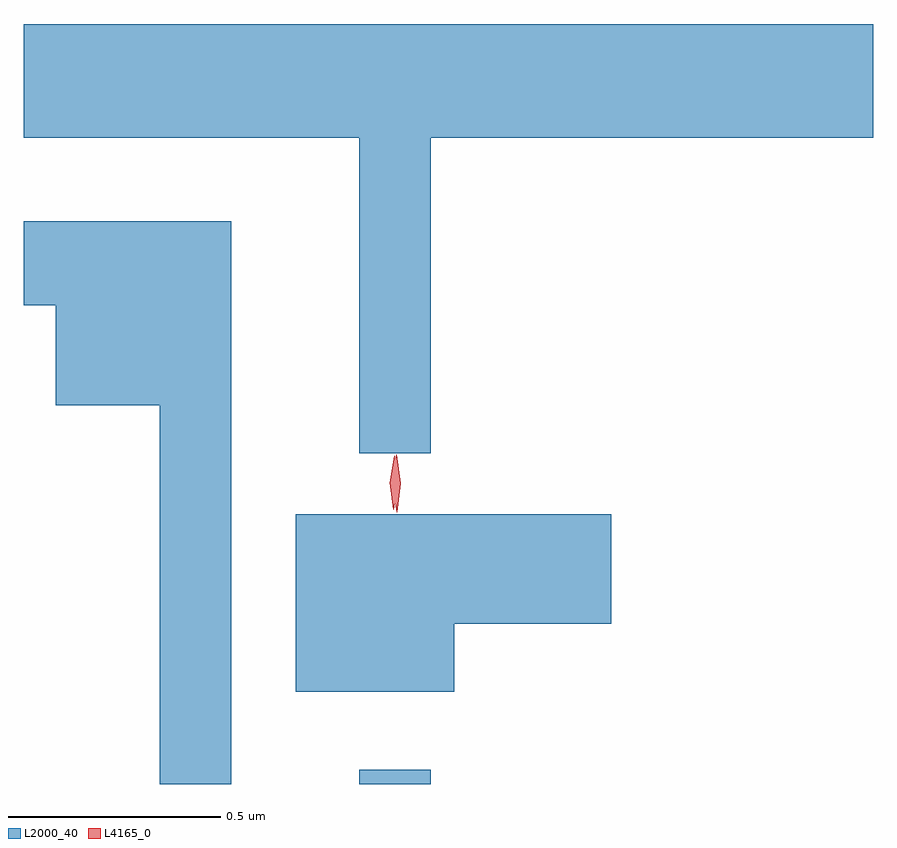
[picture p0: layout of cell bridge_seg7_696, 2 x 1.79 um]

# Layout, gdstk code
import gdstk
lib = gdstk.Library(unit=1e-6, precision=1e-09)
def R(c, l, rs):  # rectangles x0, y0, x1, y1
    for r in rs: c.add(gdstk.rectangle(r[:2], r[2:], *l))
def P(c, l, *ps):  # polygons
    for p in ps: c.add(gdstk.Polygon(p, *l))
L2000_40 = (2000, 40)
L4165_0 = (4165, 0)

bridge_seg7_696 = lib.new_cell('bridge_seg7_696')
R(bridge_seg7_696, L2000_40, [(997.081,1703.914,997.249,1703.948)])
P(bridge_seg7_696, L2000_40, [(997.249,1705.436),(998.291,1705.436),(998.291,1705.704),(996.291,1705.704),(996.291,1705.436),(997.081,1705.436),(997.081,1704.693),(997.249,1704.693)],
  [(996.779,1705.239),(996.291,1705.239),(996.291,1705.041),(996.366,1705.041),(996.366,1704.806),(996.611,1704.806),(996.611,1703.914),(996.779,1703.914)],
  [(997.304,1704.291),(997.674,1704.291),(997.674,1704.549),(996.931,1704.549),(996.931,1704.131),(997.304,1704.131)])
P(bridge_seg7_696, L4165_0, [(997.169,1704.554),(997.159,1704.622),(997.168,1704.69),(997.169,1704.69),(997.169,1704.69),(997.179,1704.622),(997.17,1704.554),(997.17,1704.554)],
  [(997.162,1704.56),(997.161,1704.561),(997.153,1704.624),(997.163,1704.686),(997.164,1704.687),(997.164,1704.686),(997.173,1704.624),(997.162,1704.561)])

lib.write_gds('bridge_seg7_696.gds')
